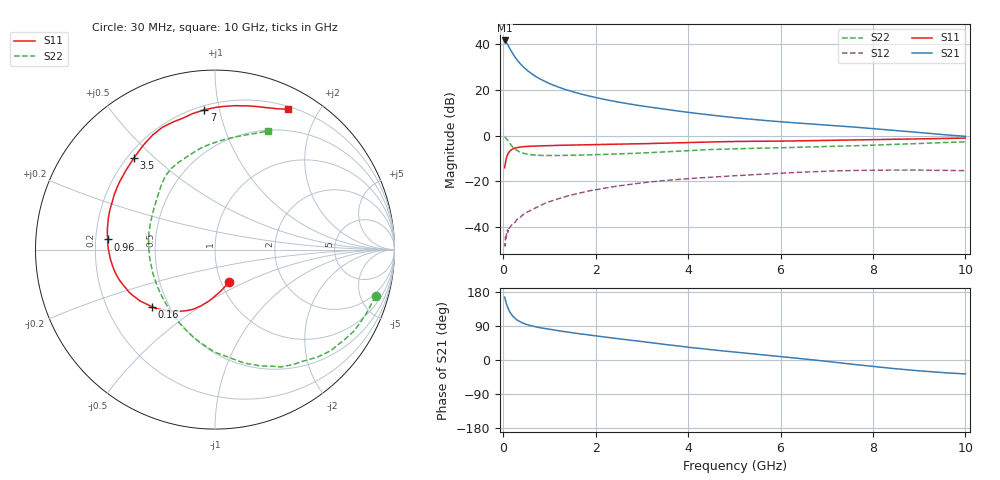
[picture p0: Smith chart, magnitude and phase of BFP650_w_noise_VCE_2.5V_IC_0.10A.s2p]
! Infineon Technologies  Discrete & RF Semiconductors
! BFP650
! VCE =  2.5 V,  IC = 0.10 A
! Common Emitter S-Parameters:  Jan 2016
# GHz  S  MA  R  50
!  f  S11  S21  S12  S22
! GHz  MAG  ANG  MAG  ANG  MAG  ANG  MAG  ANG
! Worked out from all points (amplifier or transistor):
!   229 points, 30 MHz to 10 GHz, reference 50 ohm
!   highest |S21| = 41.4 dB at 30 MHz (marker M1)
!   |S21| within 3 dB of that: start of sweep to 127.6 MHz
!   unconditionally stable (mu >= 1): 1.289 GHz to end of sweep
!   at 280 MHz: K = 0.65, MSG = 35.3 dB, |S12| = -37.1 dB
!   at 1.78 GHz: K = 1.02, MAG = 20.1 dB, |S12| = -24.5 dB
!   at 10 GHz: K = 1.03, MAG = 6.4 dB, |S12| = -15.3 dB
!   lowest NFmin = 1.42 dB at 450 MHz
!   S11 on the Smith chart (normalised r, x): 30 MHz: 1.09, -0.41; 160 MHz: 0.40, -0.33; 960 MHz: 0.25, +0.04; 3.5 GHz: 0.23, +0.43; 7 GHz: 0.23, +0.90; 10 GHz: 0.23, +1.62
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0.03  0.1976 -66.2  117.2 166.0  0.0044 76.5  0.9312 -16.2
0.04  0.2312 -81.3  115.7 161.1  0.0039 64.3  0.9146 -23.3
0.05  0.2663 -91.7  111.9 156.2  0.0062 49.6  0.8983 -30.3
0.06  0.2905 -97.2  109.7 152.4  0.0053 90.2  0.8785 -34.8
0.08  0.3551 -110.3  101.7 144.4  0.0084 70.2  0.8264 -46.6
0.11  0.415 -123.7  89.81 134.7  0.0085 68.1  0.7498 -60.7
0.13  0.4419 -130.2  82.15 129.5  0.0096 63.3  0.6958 -68.7
0.16  0.4732 -137.6  72.67 123.6  0.0105 61.8  0.6343 -78.1
0.2  0.5072 -145.8  61.84 116.3  0.0118 60.6  0.5703 -90.4
0.26  0.5348 -153.9  50.14 109.1  0.0131 60.3  0.5025 -103.9
0.3  0.5462 -158.2  44.07 105.4  0.015 57.5  0.4697 -111.7
0.4  0.5673 -165.6  33.69 98.7  0.0179 61.4  0.4221 -126.7
0.6  0.5856 -175.0  22.62 90.4  0.0235 62.6  0.3821 -146.6
0.96  0.6015 174.6  14.11 81.8  0.0352 63.0  0.3662 -167.4
1.7  0.6255 159.7  7.918 68.6  0.0573 56.9  0.3756 169.3
3.4  0.6772 132.9  3.843 42.7  0.1026 38.6  0.4352 137.4
3.5  0.6818 131.5  3.713 41.0  0.1051 37.6  0.4406 136.0
5.1  0.7427 112.2  2.395 19.8  0.1347 20.9  0.5165 116.9
6.8  0.7752 96.3  1.746 -0.9  0.1644 3.6  0.5683 98.5
7  0.7814 94.3  1.692 -3.6  0.1678 1.3  0.5751 96.8
8.4  0.8216 77.0  1.308 -22.0  0.1765 -14.4  0.6349 80.4
10  0.881 62.7  0.959 -36.7  0.172 -27.1  0.7264 65.8
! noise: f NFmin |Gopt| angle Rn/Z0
0.45  1.42  0.56  -171  0.06
0.9  1.44  0.58  -164  0.06
1.9  1.59  0.59  -150  0.09
2.4  1.69  0.57  -141  0.13
3.5  1.87  0.58  -118  0.25
